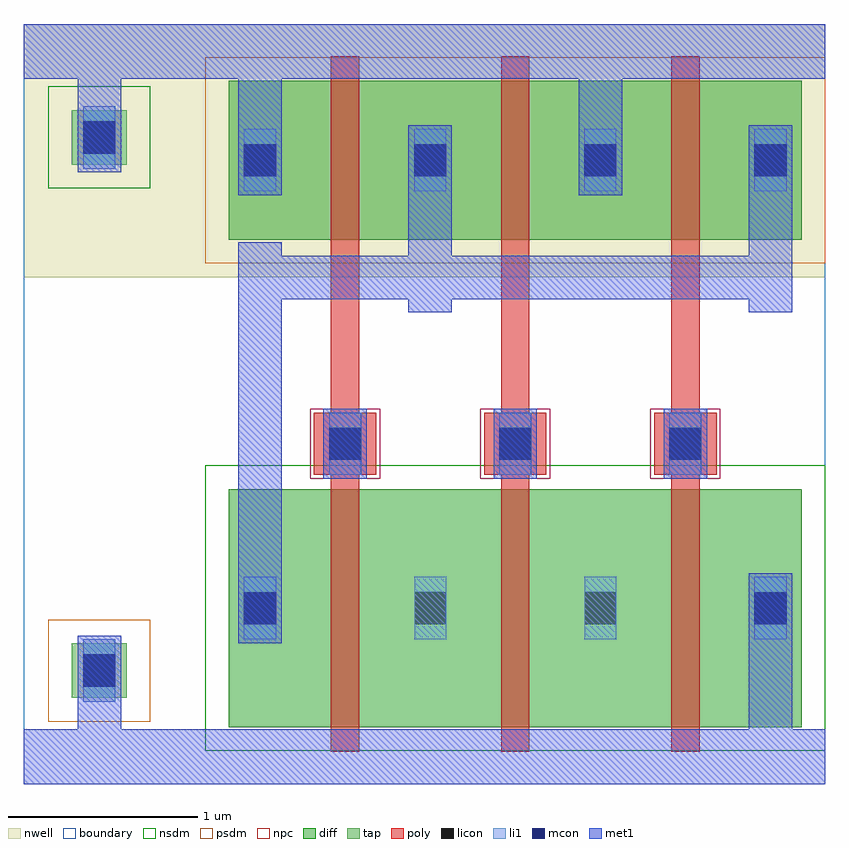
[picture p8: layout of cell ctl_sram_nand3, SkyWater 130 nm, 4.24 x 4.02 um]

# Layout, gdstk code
import gdstk
lib = gdstk.Library(unit=1e-6, precision=1e-09)
def R(c, l, rs):  # rectangles x0, y0, x1, y1
    for r in rs: c.add(gdstk.rectangle(r[:2], r[2:], *l))
def A(c, l, x, y, w, h, nx, ny, dx, dy):  # array of equal rectangles
    R(c, l, [(x+i*dx, y+j*dy, x+i*dx+w, y+j*dy+h) for i in range(nx) for j in range(ny)])
nwell = (64, 20)
diff = (65, 20)
tap = (65, 44)
poly = (66, 20)
licon = (66, 44)
li1 = (67, 20)
mcon = (67, 44)
met1 = (68, 20)
nsdm = (93, 44)
psdm = (94, 20)
npc = (95, 20)
boundary = (235, 4)

ctl_sram_nand3 = lib.new_cell('ctl_sram_nand3')
R(ctl_sram_nand3, nwell, [(0,2.68,4.24,4.02)])
R(ctl_sram_nand3, diff, [(1.085,0.3,4.115,1.56), (1.085,2.88,4.115,3.72)])
R(ctl_sram_nand3, tap, [(0.255,0.455,0.545,0.745), (0.255,3.275,0.545,3.565)])
A(ctl_sram_nand3, poly, 1.625, 0.17, 0.15, 3.68, 3, 1, 0.9, 0)
A(ctl_sram_nand3, poly, 1.535, 1.635, 0.33, 0.33, 3, 1, 0.9, 0)
A(ctl_sram_nand3, licon, 1.165, 0.845, 0.17, 0.17, 4, 2, 0.9, 2.37)
A(ctl_sram_nand3, licon, 1.615, 1.715, 0.17, 0.17, 3, 1, 0.9, 0)
R(ctl_sram_nand3, licon, [(0.315,0.515,0.485,0.685), (0.315,3.335,0.485,3.505)])
A(ctl_sram_nand3, li1, 1.165, 0.765, 0.17, 0.33, 4, 2, 0.9, 2.37)
A(ctl_sram_nand3, li1, 1.615, 1.635, 0.17, 0.33, 3, 1, 0.9, 0)
R(ctl_sram_nand3, li1, [(0.315,0.435,0.485,0.765), (0.315,3.255,0.485,3.585)])
A(ctl_sram_nand3, mcon, 1.615, 1.715, 0.17, 0.17, 3, 1, 0.9, 0)
A(ctl_sram_nand3, mcon, 1.165, 3.215, 0.17, 0.17, 4, 1, 0.9, 0)
R(ctl_sram_nand3, mcon, [(0.315,0.515,0.485,0.685), (1.165,0.845,1.335,1.015), (3.865,0.845,4.035,1.015), (0.315,3.335,0.485,3.505)])
A(ctl_sram_nand3, met1, 1.585, 1.615, 0.23, 0.37, 3, 1, 0.9, 0)
R(ctl_sram_nand3, met1, [(0,0,4.24,0.29), (0.285,0.145,0.515,0.6), (3.835,0.145,4.065,1.115), (0.285,0.415,0.515,0.785), (1.135,0.745,1.365,2.865), (2.035,2.495,2.265,3.485), (3.835,2.495,4.065,3.485), (1.135,2.565,4.065,2.795), (1.135,3.115,1.365,3.875), (2.935,3.115,3.165,3.875), (0.285,3.235,0.515,3.605), (0.285,3.42,0.515,3.875), (0,3.73,4.24,4.02)])
R(ctl_sram_nand3, nsdm, [(0.96,0.175,4.24,1.685), (0.13,3.15,0.67,3.69)])
R(ctl_sram_nand3, psdm, [(0.13,0.33,0.67,0.87), (0.96,2.755,4.24,3.845)])
A(ctl_sram_nand3, npc, 1.515, 1.615, 0.37, 0.37, 3, 1, 0.9, 0)
R(ctl_sram_nand3, boundary, [(0,0,4.24,4.02)])

lib.write_gds('ctl_sram_nand3.gds')
